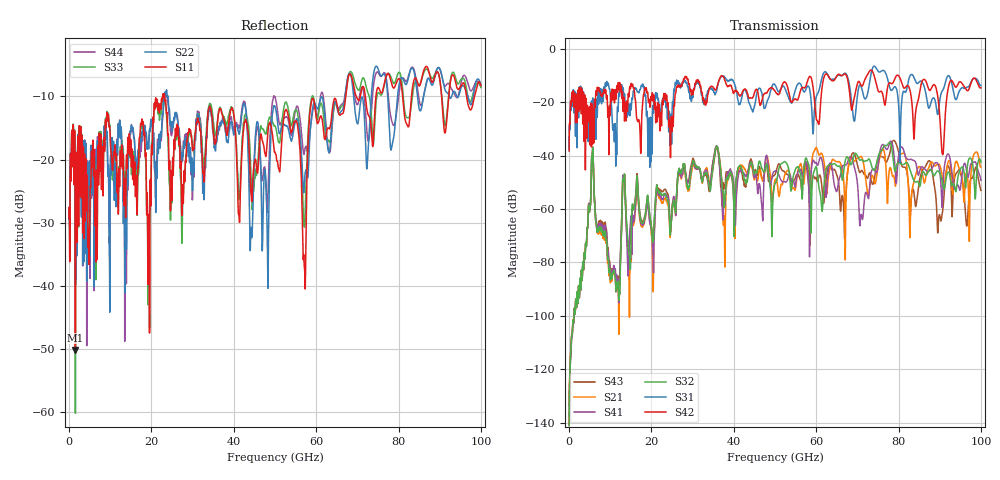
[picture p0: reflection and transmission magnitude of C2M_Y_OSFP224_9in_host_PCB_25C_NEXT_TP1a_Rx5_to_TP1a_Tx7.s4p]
# GHz S RI R 45
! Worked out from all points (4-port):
!   4000 points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, 25 MHz to 100 GHz, reference 45 ohm
!   strongest paths, dB at 25 MHz, 25.02 GHz, 50.02 GHz, 75.03 GHz, 100 GHz:
!     S42: -38.2, -30.2, -15.9, -15.6, -14.6
!     S31: -38.2, -23.1, -13.6, -8.3, -13.8
!     S32: -141.1, -59.9, -50.5, -40.5, -42.5
!     S41: -137.2, -59.8, -45.7, -44.0, -49.2
!     S21: -140.8, -60.1, -49.2, -44.0, -44.3
!     S43: -133.4, -59.3, -47.0, -41.1, -53.0
!   lowest |S11| = -50.2 dB at 1.55 GHz (marker M1), VSWR 1.01, Z = 45.3 + j0.0209 ohm
!   |S11| at or under -10 dB: start of sweep to 22.73 GHz; 23.21 GHz to 67.18 GHz (43.96 GHz wide, 97.3 % of centre); 71.94 GHz to 74.51 GHz (2.572 GHz wide, 3.51 % of centre)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
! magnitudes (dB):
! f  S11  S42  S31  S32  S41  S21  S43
! 25 MHz  -29.3  -38.2  -38.2  -141.1  -137.2  -140.8  -133.4
! 1.55 GHz  -50.2  -24.5  -30.1  -96.7  -96.9  -96.8  -96.6
! 5.7 GHz  -18.9  -26.1  -19.8  -38.9  -38.8  -38.9  -38.8
! 11.93 GHz  -25.7  -12.8  -22.9  -87.3  -86.8  -88.5  -85.5
! 13.28 GHz  -23.8  -18.4  -17.6  -49.5  -49.1  -49.5  -49.2
! 35.75 GHz  -16.7  -15.2  -16.3  -36.7  -36.6  -36.9  -36.4
! 100 GHz  -8.3  -14.6  -13.8  -42.5  -49.2  -44.3  -53.0
